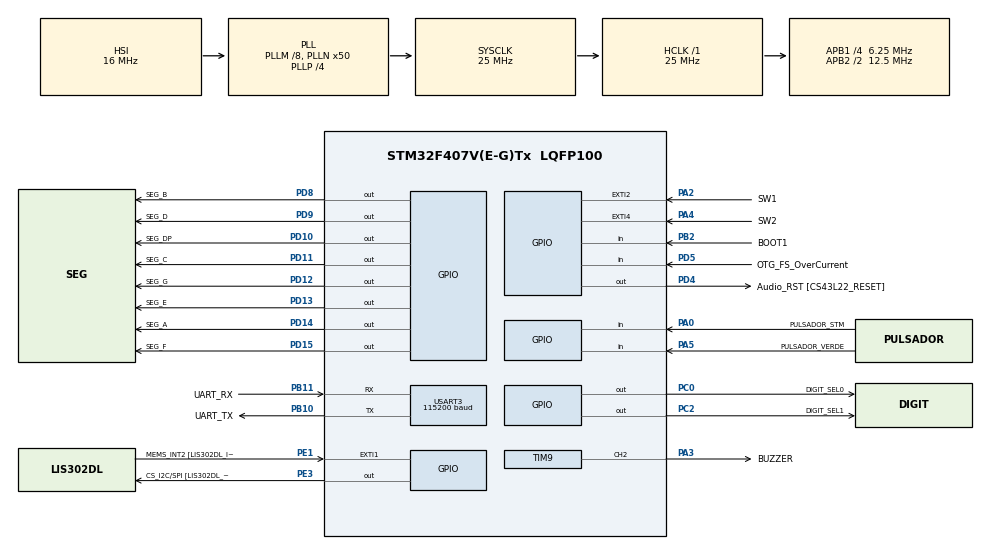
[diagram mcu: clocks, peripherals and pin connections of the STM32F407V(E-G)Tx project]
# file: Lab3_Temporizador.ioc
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Mcu.Family=STM32F4
Mcu.Name=STM32F407V(E-G)Tx
Mcu.Package=LQFP100
NVIC.EXTI2_IRQn=true\:0\:0\:false\:false\:true\:true\:true\:true
NVIC.EXTI4_IRQn=true\:0\:0\:false\:false\:true\:true\:true\:true
NVIC.PriorityGroup=NVIC_PRIORITYGROUP_0
NVIC.TIM2_IRQn=true\:0\:0\:false\:false\:true\:true\:true\:true
NVIC.USART3_IRQn=true\:0\:0\:false\:false\:true\:true\:true\:true
PA0-WKUP.GPIO_Label=PULSADOR_STM
PA0-WKUP.Signal=GPIO_Input
PA10.GPIO_Label=OTG_FS_ID
PA10.GPIO_Mode=GPIO_MODE_AF_PP
PA10.GPIO_PuPd=GPIO_NOPULL
PA10.GPIO_Speed=GPIO_SPEED_FREQ_LOW
PA10.Signal=USB_OTG_FS_ID
PA11.GPIO_Label=OTG_FS_DM
PA11.GPIO_Mode=GPIO_MODE_AF_PP
PA11.GPIO_PuPd=GPIO_NOPULL
PA11.GPIO_Speed=GPIO_SPEED_FREQ_LOW
PA11.Signal=USB_OTG_FS_DM
PA12.GPIO_Label=OTG_FS_DP
PA12.GPIO_Mode=GPIO_MODE_AF_PP
PA12.GPIO_PuPd=GPIO_NOPULL
PA12.GPIO_Speed=GPIO_SPEED_FREQ_LOW
PA12.Signal=USB_OTG_FS_DP
PA13.GPIO_Label=SWDIO
PA13.Signal=SYS_JTMS-SWDIO
PA14.GPIO_Label=SWCLK
PA14.Signal=SYS_JTCK-SWCLK
PA2.GPIO_Label=SW1
PA2.GPIO_ModeDefaultEXTI=GPIO_MODE_IT_FALLING
PA2.GPIO_PuPd=GPIO_NOPULL
PA2.Signal=GPXTI2
PA3.GPIO_Label=BUZZER
PA3.GPIO_Mode=GPIO_MODE_AF_PP
PA3.GPIO_PuPd=GPIO_NOPULL
PA3.GPIO_Speed=GPIO_SPEED_FREQ_LOW
PA3.Signal=S_TIM9_CH2
PA4.GPIO_Label=SW2
PA4.GPIO_ModeDefaultEXTI=GPIO_MODE_IT_FALLING
PA4.GPIO_PuPd=GPIO_NOPULL
PA4.Signal=GPXTI4
PA5.GPIO_Label=PULSADOR_VERDE
PA5.Signal=GPIO_Input
PA6.GPIO_Label=SPI1_MISO [LIS302DL_SDO]
PA6.GPIO_Mode=GPIO_MODE_AF_PP
PA6.GPIO_PuPd=GPIO_NOPULL
PA6.GPIO_Speed=GPIO_SPEED_FREQ_LOW
PA6.Signal=SPI1_MISO
PA7.GPIO_Label=SPI1_MOSI [LIS302DL_SDA/SDI/SDO]
PA7.GPIO_Mode=GPIO_MODE_AF_PP
PA7.GPIO_PuPd=GPIO_NOPULL
PA7.GPIO_Speed=GPIO_SPEED_FREQ_LOW
PA7.Signal=SPI1_MOSI
PA9.GPIO_Label=VBUS_FS
PA9.GPIO_Mode=GPIO_MODE_INPUT
PA9.GPIO_PuPd=GPIO_NOPULL
PA9.Signal=USB_OTG_FS_VBUS
PB10.GPIO_Label=UART_TX
PB10.GPIO_Mode=GPIO_MODE_AF_PP
PB10.GPIO_PuPd=GPIO_NOPULL
PB10.GPIO_Speed=GPIO_SPEED_FREQ_LOW
PB10.Mode=Asynchronous
PB10.Signal=USART3_TX
PB11.GPIO_Label=UART_RX
PB11.GPIO_Mode=GPIO_MODE_AF_PP
PB11.GPIO_PuPd=GPIO_NOPULL
PB11.GPIO_Speed=GPIO_SPEED_FREQ_LOW
PB11.Mode=Asynchronous
PB11.Signal=USART3_RX
PB2.GPIO_Label=BOOT1
PB2.GPIO_Mode=GPIO_MODE_INPUT
PB2.GPIO_PuPd=GPIO_NOPULL
PB2.Signal=GPIO_Input
PB3.GPIO_Label=SWO
PB3.Signal=SYS_JTDO-SWO
PB6.GPIO_Label=Audio_SCL [CS43L22_SCL]
PB6.GPIO_Mode=GPIO_MODE_AF_OD
PB6.GPIO_PuPd=GPIO_NOPULL
PB6.GPIO_Speed=GPIO_SPEED_FREQ_LOW
PB6.Signal=I2C1_SCL
PB9.GPIO_Label=Audio_SDA [CS43L22_SDA]
PB9.GPIO_Mode=GPIO_MODE_AF_OD
PB9.GPIO_PuPd=GPIO_NOPULL
PB9.GPIO_Speed=GPIO_SPEED_FREQ_LOW
PB9.Signal=I2C1_SDA
PC0.GPIO_Label=DIGIT_SEL0
PC0.GPIO_PuPd=GPIO_NOPULL
PC0.GPIO_Speed=GPIO_SPEED_FREQ_LOW
PC0.PinState=GPIO_PIN_RESET
PC0.Signal=GPIO_Output
PC10.GPIO_Label=I2S3_SCK [CS43L22_SCLK]
PC10.GPIO_Mode=GPIO_MODE_AF_PP
PC10.GPIO_PuPd=GPIO_NOPULL
PC10.GPIO_Speed=GPIO_SPEED_FREQ_LOW
PC10.Signal=I2S3_CK
PC12.GPIO_Label=I2S3_SD [CS43L22_SDIN]
PC12.GPIO_Mode=GPIO_MODE_AF_PP
PC12.GPIO_PuPd=GPIO_NOPULL
PC12.GPIO_Speed=GPIO_SPEED_FREQ_LOW
PC12.Signal=I2S3_SD
PC14-OSC32_IN.GPIO_Label=PC14-OSC32_IN
PC14-OSC32_IN.Signal=RCC_OSC32_IN
PC15-OSC32_OUT.GPIO_Label=PC15-OSC32_OUT
PC15-OSC32_OUT.Signal=RCC_OSC32_OUT
PC2.GPIO_Label=DIGIT_SEL1
PC2.GPIO_PuPd=GPIO_NOPULL
PC2.GPIO_Speed=GPIO_SPEED_FREQ_LOW
PC2.PinState=GPIO_PIN_RESET
PC2.Signal=GPIO_Output
PC3.GPIO_Label=PDM_OUT [MP45DT02_DOUT]
PC3.GPIO_Mode=GPIO_MODE_AF_PP
PC3.GPIO_PuPd=GPIO_NOPULL
PC3.GPIO_Speed=GPIO_SPEED_FREQ_LOW
PC3.Signal=I2S2_SD
PC7.GPIO_Label=I2S3_MCK [CS43L22_MCLK]
PC7.GPIO_Mode=GPIO_MODE_AF_PP
PC7.GPIO_PuPd=GPIO_NOPULL
PC7.GPIO_Speed=GPIO_SPEED_FREQ_LOW
PC7.Signal=I2S3_MCK
PD10.GPIO_Label=SEG_DP
PD10.GPIO_PuPd=GPIO_NOPULL
PD10.GPIO_Speed=GPIO_SPEED_FREQ_LOW
PD10.PinState=GPIO_PIN_RESET
PD10.Signal=GPIO_Output
PD11.GPIO_Label=SEG_C
PD11.PinState=GPIO_PIN_RESET
PD11.Signal=GPIO_Output
PD12.GPIO_Label=SEG_G
PD12.GPIO_PuPd=GPIO_NOPULL
PD12.GPIO_Speed=GPIO_SPEED_FREQ_LOW
PD12.Signal=GPIO_Output
PD13.GPIO_Label=SEG_E
PD13.GPIO_PuPd=GPIO_NOPULL
PD13.GPIO_Speed=GPIO_SPEED_FREQ_LOW
PD13.Signal=GPIO_Output
PD14.GPIO_Label=SEG_A
PD14.GPIO_PuPd=GPIO_NOPULL
PD14.GPIO_Speed=GPIO_SPEED_FREQ_LOW
PD14.Signal=GPIO_Output
PD15.GPIO_Label=SEG_F
PD15.GPIO_PuPd=GPIO_NOPULL
PD15.GPIO_Speed=GPIO_SPEED_FREQ_LOW
PD15.Signal=GPIO_Output
PD4.GPIO_Label=Audio_RST [CS43L22_RESET]
PD4.GPIO_PuPd=GPIO_NOPULL
PD4.GPIO_Speed=GPIO_SPEED_FREQ_LOW
PD4.Signal=GPIO_Output
PD5.GPIO_Label=OTG_FS_OverCurrent
PD5.GPIO_Mode=GPIO_MODE_INPUT
PD5.GPIO_PuPd=GPIO_NOPULL
PD5.Signal=GPIO_Input
PD8.GPIO_Label=SEG_B
PD8.GPIO_PuPd=GPIO_NOPULL
PD8.GPIO_Speed=GPIO_SPEED_FREQ_LOW
PD8.PinState=GPIO_PIN_RESET
PD8.Signal=GPIO_Output
PD9.GPIO_Label=SEG_D
PD9.PinState=GPIO_PIN_RESET
PD9.Signal=GPIO_Output
PE1.GPIO_Label=MEMS_INT2 [LIS302DL_INT2]
PE1.GPIO_ModeDefaultEXTI=GPIO_MODE_EVT_RISING
PE1.GPIO_PuPd=GPIO_NOPULL
PE1.Signal=GPXTI1
PE3.GPIO_Label=CS_I2C/SPI [LIS302DL_CS_I2C/SPI]
PE3.GPIO_PuPd=GPIO_NOPULL
PE3.GPIO_Speed=GPIO_SPEED_FREQ_LOW
PE3.Signal=GPIO_Output
PH0-OSC_IN.GPIO_Label=PH0-OSC_IN
PH0-OSC_IN.Signal=RCC_OSC_IN
PH1-OSC_OUT.GPIO_Label=PH1-OSC_OUT
PH1-OSC_OUT.Signal=RCC_OSC_OUT
ProjectManager.HeapSize=0x200
ProjectManager.StackSize=0x400
ProjectManager.TargetToolchain=STM32CubeIDE
RCC.48MHZClocksFreq_Value=14285714.285714285
RCC.AHBFreq_Value=25000000
RCC.APB1CLKDivider=RCC_HCLK_DIV4
RCC.APB1Freq_Value=6250000
RCC.APB1TimFreq_Value=12500000
RCC.APB2CLKDivider=RCC_HCLK_DIV2
RCC.APB2Freq_Value=12500000
RCC.APB2TimFreq_Value=25000000
RCC.CortexFreq_Value=25000000
RCC.HCLKFreq_Value=25000000
RCC.HSE_VALUE=8000000
RCC.HSI_VALUE=16000000
RCC.LSE_VALUE=32768
RCC.PLLM=8
RCC.PLLN=50
RCC.PLLP=RCC_PLLP_DIV4
RCC.PLLQ=7
RCC.SYSCLKFreq_VALUE=25000000
RCC.SYSCLKSource=RCC_SYSCLKSOURCE_PLLCLK
RCC.VCOOutputFreq_Value=100000000
SH.S_TIM9_CH2.0=TIM9_CH2,PWM Generation2 CH2
TIM2.Period=199
TIM2.Prescaler=124
TIM9.Channel-PWM\ Generation2\ CH2=TIM_CHANNEL_2
TIM9.Period=56817
TIM9.Prescaler=0
TIM9.Pulse-PWM\ Generation2\ CH2=28409
USART3.BaudRate=115200
USART3.Mode=MODE_TX_RX
USART3.OverSampling=UART_OVERSAMPLING_16
USART3.Parity=UART_PARITY_NONE
USART3.StopBits=UART_STOPBITS_1
USART3.VirtualMode=VM_ASYNC
USART3.WordLength=UART_WORDLENGTH_8B
VP_TIM2_VS_ClockSourceINT.Mode=Internal
board=STM32F407G-DISC1

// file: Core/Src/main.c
	/* USER CODE BEGIN Header */
/* USER CODE END Header */
#include "main.h"

/* USER CODE BEGIN Includes */
#include <stdint.h>
#include "temporizador.h"
#include "display.h"
#include "uart.h"
#include "pulsadores.h"
/* USER CODE END Includes */

TIM_HandleTypeDef htim2;
TIM_HandleTypeDef htim9;

UART_HandleTypeDef huart3;

void SystemClock_Config(void);
static void MX_GPIO_Init(void);
static void MX_TIM2_Init(void);
static void MX_TIM9_Init(void);
static void MX_USART3_UART_Init(void);
void HAL_TIM_MspPostInit(TIM_HandleTypeDef *htim);
/* USER CODE BEGIN PFP */
static void Inicializar(void);
/* USER CODE END PFP */

int main(void)
{

  /* MCU Configuration--------------------------------------------------------*/

  /* Reset of all peripherals, Initializes the Flash interface and the Systick. */
  HAL_Init();

  /* Configure the system clock */
  SystemClock_Config();

  /* Initialize all configured peripherals */
  MX_GPIO_Init();
  MX_TIM2_Init();
  MX_TIM9_Init();
  MX_USART3_UART_Init();
  /* USER CODE BEGIN 2 */
	Inicializar();
  /* USER CODE END 2 */

	/* Infinite loop */
	/* USER CODE BEGIN WHILE */
	while (1) {
		ProcesarComandosBuffer();
		ProcesarPulsadores();
		ActualizarCuentaTemporizador();
    /* USER CODE END WHILE */

	}
}

void SystemClock_Config(void)
{
  RCC_OscInitTypeDef RCC_OscInitStruct = {0};
  RCC_ClkInitTypeDef RCC_ClkInitStruct = {0};

  /** Configure the main internal regulator output voltage
  */
  __HAL_RCC_PWR_CLK_ENABLE();
  __HAL_PWR_VOLTAGESCALING_CONFIG(PWR_REGULATOR_VOLTAGE_SCALE1);

  /** Initializes the RCC Oscillators according to the specified parameters
  * in the RCC_OscInitTypeDef structure.
  */
  RCC_OscInitStruct.OscillatorType = RCC_OSCILLATORTYPE_HSI;
  RCC_OscInitStruct.HSIState = RCC_HSI_ON;
  RCC_OscInitStruct.HSICalibrationValue = RCC_HSICALIBRATION_DEFAULT;
  RCC_OscInitStruct.PLL.PLLState = RCC_PLL_ON;
  RCC_OscInitStruct.PLL.PLLSource = RCC_PLLSOURCE_HSI;
  RCC_OscInitStruct.PLL.PLLM = 8;
  RCC_OscInitStruct.PLL.PLLN = 50;
  RCC_OscInitStruct.PLL.PLLP = RCC_PLLP_DIV4;
  RCC_OscInitStruct.PLL.PLLQ = 7;
  if (HAL_RCC_OscConfig(&RCC_OscInitStruct) != HAL_OK)
  {
    Error_Handler();
  }

  /** Initializes the CPU, AHB and APB buses clocks
  */
  RCC_ClkInitStruct.ClockType = RCC_CLOCKTYPE_HCLK|RCC_CLOCKTYPE_SYSCLK
                              |RCC_CLOCKTYPE_PCLK1|RCC_CLOCKTYPE_PCLK2;
  RCC_ClkInitStruct.SYSCLKSource = RCC_SYSCLKSOURCE_PLLCLK;
  RCC_ClkInitStruct.AHBCLKDivider = RCC_SYSCLK_DIV1;
  RCC_ClkInitStruct.APB1CLKDivider = RCC_HCLK_DIV4;
  RCC_ClkInitStruct.APB2CLKDivider = RCC_HCLK_DIV2;

  if (HAL_RCC_ClockConfig(&RCC_ClkInitStruct, FLASH_LATENCY_0) != HAL_OK)
  {
    Error_Handler();
  }
}

static void MX_TIM2_Init(void)
{

  TIM_ClockConfigTypeDef sClockSourceConfig = {0};
  TIM_MasterConfigTypeDef sMasterConfig = {0};

  htim2.Instance = TIM2;
  htim2.Init.Prescaler = 124;
  htim2.Init.CounterMode = TIM_COUNTERMODE_UP;
  htim2.Init.Period = 199;
  htim2.Init.ClockDivision = TIM_CLOCKDIVISION_DIV1;
  htim2.Init.AutoReloadPreload = TIM_AUTORELOAD_PRELOAD_DISABLE;
  if (HAL_TIM_Base_Init(&htim2) != HAL_OK)
  {
    Error_Handler();
  }
  sClockSourceConfig.ClockSource = TIM_CLOCKSOURCE_INTERNAL;
  if (HAL_TIM_ConfigClockSource(&htim2, &sClockSourceConfig) != HAL_OK)
  {
    Error_Handler();
  }
  sMasterConfig.MasterOutputTrigger = TIM_TRGO_RESET;
  sMasterConfig.MasterSlaveMode = TIM_MASTERSLAVEMODE_DISABLE;
  if (HAL_TIMEx_MasterConfigSynchronization(&htim2, &sMasterConfig) != HAL_OK)
  {
    Error_Handler();
  }

}

static void MX_TIM9_Init(void)
{

  TIM_OC_InitTypeDef sConfigOC = {0};

  htim9.Instance = TIM9;
  htim9.Init.Prescaler = 0;
  htim9.Init.CounterMode = TIM_COUNTERMODE_UP;
  htim9.Init.Period = 56817;
  htim9.Init.ClockDivision = TIM_CLOCKDIVISION_DIV1;
  htim9.Init.AutoReloadPreload = TIM_AUTORELOAD_PRELOAD_DISABLE;
  if (HAL_TIM_PWM_Init(&htim9) != HAL_OK)
  {
    Error_Handler();
  }
  sConfigOC.OCMode = TIM_OCMODE_PWM1;
  sConfigOC.Pulse = 28409;
  sConfigOC.OCPolarity = TIM_OCPOLARITY_HIGH;
  sConfigOC.OCFastMode = TIM_OCFAST_DISABLE;
  if (HAL_TIM_PWM_ConfigChannel(&htim9, &sConfigOC, TIM_CHANNEL_2) != HAL_OK)
  {
    Error_Handler();
  }
  HAL_TIM_MspPostInit(&htim9);

}

static void MX_USART3_UART_Init(void)
{

  huart3.Instance = USART3;
  huart3.Init.BaudRate = 115200;
  huart3.Init.Mode = UART_MODE_TX_RX;
  huart3.Init.HwFlowCtl = UART_HWCONTROL_NONE;
  huart3.Init.OverSampling = UART_OVERSAMPLING_16;
  if (HAL_UART_Init(&huart3) != HAL_OK)
  {
    Error_Handler();
  }

}

static void MX_GPIO_Init(void)
{
  GPIO_InitTypeDef GPIO_InitStruct = {0};

  /* GPIO Ports Clock Enable */
  __HAL_RCC_GPIOE_CLK_ENABLE();
  __HAL_RCC_GPIOC_CLK_ENABLE();
  __HAL_RCC_GPIOH_CLK_ENABLE();
  __HAL_RCC_GPIOA_CLK_ENABLE();
  __HAL_RCC_GPIOB_CLK_ENABLE();
  __HAL_RCC_GPIOD_CLK_ENABLE();

  /*Configure GPIO pin Output Level */
  HAL_GPIO_WritePin(CS_I2C_SPI_GPIO_Port, CS_I2C_SPI_Pin, GPIO_PIN_RESET);

  /*Configure GPIO pin Output Level */
  HAL_GPIO_WritePin(GPIOC, DIGIT_SEL0_Pin|DIGIT_SEL1_Pin, GPIO_PIN_RESET);

  /*Configure GPIO pin Output Level */
  HAL_GPIO_WritePin(GPIOD, SEG_B_Pin|SEG_D_Pin|SEG_DP_Pin|SEG_C_Pin
                          |SEG_G_Pin|SEG_E_Pin|SEG_A_Pin|SEG_F_Pin
                          |Audio_RST_Pin, GPIO_PIN_RESET);

  /*Configure GPIO pin : CS_I2C_SPI_Pin */
  GPIO_InitStruct.Pin = CS_I2C_SPI_Pin;
  GPIO_InitStruct.Mode = GPIO_MODE_OUTPUT_PP;
  GPIO_InitStruct.Pull = GPIO_NOPULL;
  GPIO_InitStruct.Speed = GPIO_SPEED_FREQ_LOW;
  HAL_GPIO_Init(CS_I2C_SPI_GPIO_Port, &GPIO_InitStruct);

  /*Configure GPIO pins : DIGIT_SEL0_Pin DIGIT_SEL1_Pin */
  GPIO_InitStruct.Pin = DIGIT_SEL0_Pin|DIGIT_SEL1_Pin;
  GPIO_InitStruct.Mode = GPIO_MODE_OUTPUT_PP;
  GPIO_InitStruct.Pull = GPIO_NOPULL;
  GPIO_InitStruct.Speed = GPIO_SPEED_FREQ_LOW;
  HAL_GPIO_Init(GPIOC, &GPIO_InitStruct);

  /*Configure GPIO pin : PDM_OUT_Pin */
  GPIO_InitStruct.Pin = PDM_OUT_Pin;
  GPIO_InitStruct.Mode = GPIO_MODE_AF_PP;
  GPIO_InitStruct.Pull = GPIO_NOPULL;
  GPIO_InitStruct.Speed = GPIO_SPEED_FREQ_LOW;
  GPIO_InitStruct.Alternate = GPIO_AF5_SPI2;
  HAL_GPIO_Init(PDM_OUT_GPIO_Port, &GPIO_InitStruct);

  /*Configure GPIO pins : PULSADOR_STM_Pin PULSADOR_VERDE_Pin */
  GPIO_InitStruct.Pin = PULSADOR_STM_Pin|PULSADOR_VERDE_Pin;
  GPIO_InitStruct.Mode = GPIO_MODE_INPUT;
  GPIO_InitStruct.Pull = GPIO_NOPULL;
  HAL_GPIO_Init(GPIOA, &GPIO_InitStruct);

  /*Configure GPIO pins : SW1_Pin SW2_Pin */
  GPIO_InitStruct.Pin = SW1_Pin|SW2_Pin;
  GPIO_InitStruct.Mode = GPIO_MODE_IT_FALLING;
  GPIO_InitStruct.Pull = GPIO_NOPULL;
  HAL_GPIO_Init(SW1_GPIO_Port, &GPIO_InitStruct);

  /*Configure GPIO pins : SPI1_MISO_Pin SPI1_MOSI_Pin */
  GPIO_InitStruct.Pin = SPI1_MISO_Pin|SPI1_MOSI_Pin;
  GPIO_InitStruct.Mode = GPIO_MODE_AF_PP;
  GPIO_InitStruct.Pull = GPIO_NOPULL;
  GPIO_InitStruct.Speed = GPIO_SPEED_FREQ_LOW;
  GPIO_InitStruct.Alternate = GPIO_AF5_SPI1;
  HAL_GPIO_Init(GPIOA, &GPIO_InitStruct);

  /*Configure GPIO pin : BOOT1_Pin */
  GPIO_InitStruct.Pin = BOOT1_Pin;
  GPIO_InitStruct.Mode = GPIO_MODE_INPUT;
  GPIO_InitStruct.Pull = GPIO_NOPULL;
  HAL_GPIO_Init(BOOT1_GPIO_Port, &GPIO_InitStruct);

  /*Configure GPIO pins : SEG_B_Pin SEG_D_Pin SEG_DP_Pin SEG_C_Pin
                           SEG_G_Pin SEG_E_Pin SEG_A_Pin SEG_F_Pin
                           Audio_RST_Pin */
  GPIO_InitStruct.Pin = SEG_B_Pin|SEG_D_Pin|SEG_DP_Pin|SEG_C_Pin
                          |SEG_G_Pin|SEG_E_Pin|SEG_A_Pin|SEG_F_Pin
                          |Audio_RST_Pin;
  GPIO_InitStruct.Mode = GPIO_MODE_OUTPUT_PP;
  GPIO_InitStruct.Pull = GPIO_NOPULL;
  GPIO_InitStruct.Speed = GPIO_SPEED_FREQ_LOW;
  HAL_GPIO_Init(GPIOD, &GPIO_InitStruct);

  /*Configure GPIO pins : I2S3_MCK_Pin I2S3_SCK_Pin I2S3_SD_Pin */
  GPIO_InitStruct.Pin = I2S3_MCK_Pin|I2S3_SCK_Pin|I2S3_SD_Pin;
  GPIO_InitStruct.Mode = GPIO_MODE_AF_PP;
  GPIO_InitStruct.Pull = GPIO_NOPULL;
  GPIO_InitStruct.Speed = GPIO_SPEED_FREQ_LOW;
  GPIO_InitStruct.Alternate = GPIO_AF6_SPI3;
  HAL_GPIO_Init(GPIOC, &GPIO_InitStruct);

  /*Configure GPIO pin : VBUS_FS_Pin */
  GPIO_InitStruct.Pin = VBUS_FS_Pin;
  GPIO_InitStruct.Mode = GPIO_MODE_INPUT;
  GPIO_InitStruct.Pull = GPIO_NOPULL;
  HAL_GPIO_Init(VBUS_FS_GPIO_Port, &GPIO_InitStruct);

  /*Configure GPIO pins : OTG_FS_ID_Pin OTG_FS_DM_Pin OTG_FS_DP_Pin */
  GPIO_InitStruct.Pin = OTG_FS_ID_Pin|OTG_FS_DM_Pin|OTG_FS_DP_Pin;
  GPIO_InitStruct.Mode = GPIO_MODE_AF_PP;
  GPIO_InitStruct.Pull = GPIO_NOPULL;
  GPIO_InitStruct.Speed = GPIO_SPEED_FREQ_LOW;
  GPIO_InitStruct.Alternate = GPIO_AF10_OTG_FS;
  HAL_GPIO_Init(GPIOA, &GPIO_InitStruct);

  /*Configure GPIO pin : OTG_FS_OverCurrent_Pin */
  GPIO_InitStruct.Pin = OTG_FS_OverCurrent_Pin;
  GPIO_InitStruct.Mode = GPIO_MODE_INPUT;
  GPIO_InitStruct.Pull = GPIO_NOPULL;
  HAL_GPIO_Init(OTG_FS_OverCurrent_GPIO_Port, &GPIO_InitStruct);

  /*Configure GPIO pins : Audio_SCL_Pin Audio_SDA_Pin */
  GPIO_InitStruct.Pin = Audio_SCL_Pin|Audio_SDA_Pin;
  GPIO_InitStruct.Mode = GPIO_MODE_AF_OD;
  GPIO_InitStruct.Pull = GPIO_NOPULL;
  GPIO_InitStruct.Speed = GPIO_SPEED_FREQ_LOW;
  GPIO_InitStruct.Alternate = GPIO_AF4_I2C1;
  HAL_GPIO_Init(GPIOB, &GPIO_InitStruct);

  /*Configure GPIO pin : MEMS_INT2_Pin */
  GPIO_InitStruct.Pin = MEMS_INT2_Pin;
  GPIO_InitStruct.Mode = GPIO_MODE_EVT_RISING;
  GPIO_InitStruct.Pull = GPIO_NOPULL;
  HAL_GPIO_Init(MEMS_INT2_GPIO_Port, &GPIO_InitStruct);

  /* EXTI interrupt init*/
  HAL_NVIC_SetPriority(EXTI2_IRQn, 0, 0);
  HAL_NVIC_EnableIRQ(EXTI2_IRQn);
  HAL_NVIC_SetPriority(EXTI4_IRQn, 0, 0);
  HAL_NVIC_EnableIRQ(EXTI4_IRQn);

}

/* USER CODE BEGIN 4 */
/*
 * Prepara el display e inicia TIM2 por interrupciones
 * Envía el mensaje inicial y deja la UART escuchando de forma asíncrona
 */
static void Inicializar(void) {
	ActualizarTiempoDisplay(0);

	HAL_StatusTypeDef status_inicio_timer = HAL_TIM_Base_Start_IT(&htim2);
	if (status_inicio_timer != HAL_OK) {
		Error_Handler();
	}

	TransmitirUART("Inicio UART:\r\n");
	IniciarRecepcionUART();
}

/*
 * En cada interrupción de TIM2, refresca un dígito del display
 * Si el temporizador está activo, cuenta la interrupción para medir los segundos
 */
void HAL_TIM_PeriodElapsedCallback(TIM_HandleTypeDef *htim) {
	if (htim->Instance == TIM2) {
		RefrescarDisplay();
		ContarInterrupcionTimer();
	}
}

void HAL_GPIO_EXTI_Callback(uint16_t pin) {
	RegistrarInterrupcionPulsador(pin);
}

// Una vez recibido el carácter, se almacena en el buffer circular
void HAL_UART_RxCpltCallback(UART_HandleTypeDef *huart) {
	if (huart->Instance == USART3) {
		AlmacenarCaracterRecibidoEnElBuffer();
	}
}
/* USER CODE END 4 */

void Error_Handler(void)
{
	__disable_irq();
	while (1) {
	}
}
